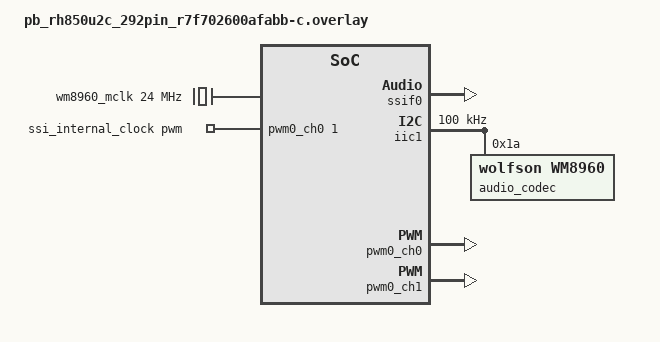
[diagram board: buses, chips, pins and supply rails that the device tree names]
/*
 * Copyright (c) 2026 Renesas Electronics Corporation
 *
 * SPDX-License-Identifier: Apache-2.0
 */

#include <zephyr/dt-bindings/i2c/i2c.h>
#include <dt-bindings/pinctrl/renesas/pinctrl-rh850u2c.h>
#include <zephyr/dt-bindings/pwm/pwm.h>

/ {
	wm8960_mclk: wm8960_mclk {
		compatible = "fixed-clock";
		#clock-cells = <0>;
		clock-frequency = <24000000>;
		status = "okay";
	};

	aliases {
		i2s-codec-tx = &ssif0;
	};
};

/ {
	ssi_internal_clock: pwmclock {
		compatible = "pwm-clock";
		status = "okay";

		#clock-cells = <1>;

		pwms = <&pwm0_ch0
			1
			PWM_HZ(6153846)
			PWM_POLARITY_NORMAL>;

		clock-frequency = <6153846>;
	};
};

&pinctrl {
	pwm_default: pwm_default {
		group1 {
			/* TAUD0O1 */
			psels = <RH850_PSEL(PORT_17, 1, ALT_OUT11)>;
		};
	};
};

&ssif0 {
	pinctrl-0 = <&ssif0_default>;
	pinctrl-names = "default";

	clocks = <&cgc RH850_PCLK(SSIF, 0, PCLK)>,
		 <&ssi_internal_clock 0>;

	clock-names = "pclk", "audio-clock";

	status = "okay";
};

&iic1 {
	status = "okay";

	pinctrl-0 = <&iic1_default>;
	pinctrl-names = "default";

	clock-frequency = <I2C_BITRATE_STANDARD>;

	audio_codec: wm8960@1a {
		compatible = "wolfson,wm8960";
		reg = <0x1a>;
		status = "okay";
		clocks = <&wm8960_mclk>;
		clock-names = "mclk";
	};
};

&pwm0_ch0 {
	clock-divider = <0>;
	pinctrl-0 = <&pwm_default>;
	pinctrl-names = "default";
	status = "okay";
};

&pwm0_ch1 {
	status = "okay";
};
